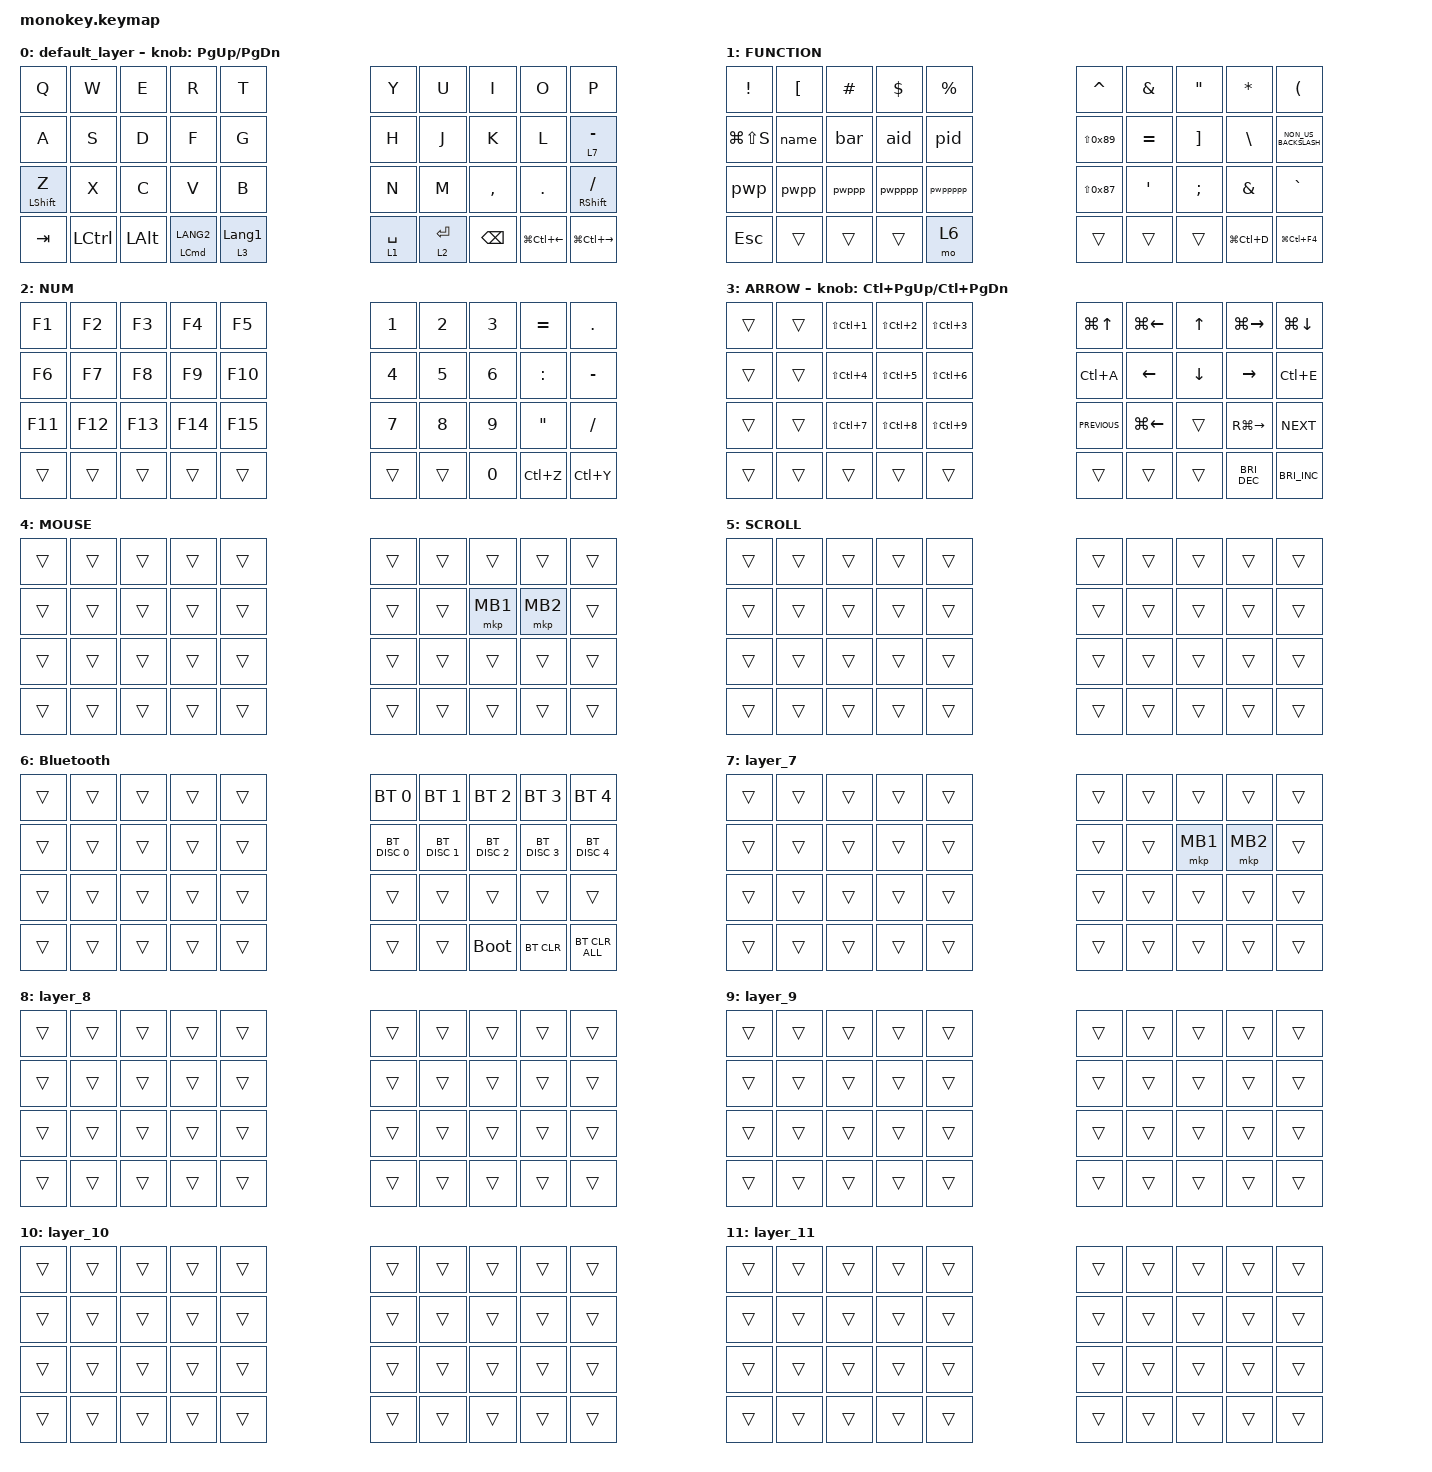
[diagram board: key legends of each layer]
#include <behaviors.dtsi>
#include <dt-bindings/zmk/bt.h>
#include <dt-bindings/zmk/keys.h>
#include <dt-bindings/zmk/pointing.h>

#define MOUSE 4
#define SCROLL 5
#define NUM 6

// OS設定を日本語キーボードのまま使用するための変換定義

#define JP_DQUOTE       AT                // "
#define JP_AMPERSAND    CARET             // &
#define JP_QUOTE        AMPERSAND         // '
#define JP_EQUAL        UNDER             // =
#define JP_CARET        EQUAL             // ^
#define JP_YEN          0x89              // ¥
#define JP_PLUS         COLON             // +
#define JP_TILDE        PLUS              // ~
#define JP_PIPE         LS(0x89)          // |
#define JP_AT           LEFT_BRACKET      // @
#define JP_COLON        SINGLE_QUOTE      // :
#define JP_ASTERISK     DOUBLE_QUOTES     // *
#define JP_BACKQUOTE    LEFT_BRACE        // `
#define JP_UNDERSCORE   LS(0x87)          // _
#define JP_LBRACKET     RIGHT_BRACKET     // [
#define JP_RBRACKET     BACKSLASH         // ]
#define JP_LPAREN       ASTERISK          // (
#define JP_RPAREN       LEFT_PARENTHESIS  // )
#define JP_LBRACE       RIGHT_BRACE       // {
#define JP_RBRACE       PIPE              // }
#define JP_KANA         LANGUAGE_1        // かな
#define JP_EISU         LANGUAGE_2        // 英数
#define JP_HANZEN       GRAVE             // 半角/全角

&mt {
    flavor = "balanced";
    quick-tap-ms = <300>;
};

&lt { quick-tap-ms = <300>; };

/ {
    combos {
        compatible = "zmk,combos";

        scroll {
            bindings = <&mo 5>;
            key-positions = <17 18>;
        };

        pear {
            bindings = <&bt BT_SEL 5>;
            key-positions = <0 10 20>;
        };
    };

    behaviors {
        right_click: right_click_behavior {
            compatible = "zmk,behavior-mouse-key";
            label = "RIGHT_CLICK";
            #binding-cells = <0>;

            // 右クリックは通常 MB2 に対応（ZMKの標準定義）

            bindings = <&mkp MB2>;
        };
    };

    macros {
        aid: aid {
            compatible = "zmk,behavior-macro";
            #binding-cells = <0>;
            bindings = <&none &kp LS(A) &kp N9 &kp N4 &kp N0 &kp N8 &kp N8 &kp N7 &kp N6>;
            label = "AID";
        };

        pid: pid {
            compatible = "zmk,behavior-macro";
            #binding-cells = <0>;
            bindings = <&none &kp P &kp I &kp T &kp N0 &kp N2 &kp N0 &kp N4 &kp N5>;
            label = "PID";
        };

        pwp: pwp {
            compatible = "zmk,behavior-macro";
            #binding-cells = <0>;
            bindings = <&none &kp LS(A) &kp H &kp N1 &kp N1 &kp N3 &kp N1 &kp N6 &kp N3 &kp JP_PLUS>;
            label = "PWP";
        };

        pwpp: poppa {
            compatible = "zmk,behavior-macro";
            #binding-cells = <0>;
            bindings = <&none &kp LS(A) &kp H &kp N1 &kp N1 &kp N3 &kp N1 &kp N6 &kp N3 &kp JP_PLUS &kp JP_PLUS>;
            label = "POPPA";
        };

        pwppp: pwppp {
            compatible = "zmk,behavior-macro";
            #binding-cells = <0>;
            bindings = <&none &kp LS(A) &kp H &kp N1 &kp N1 &kp N3 &kp N1 &kp N6 &kp N3 &kp JP_PLUS &kp JP_PLUS &kp JP_PLUS>;
            label = "PWPPP";
        };

        pwpppp: pwpppp {
            compatible = "zmk,behavior-macro";
            #binding-cells = <0>;
            bindings = <&none &kp LS(A) &kp H &kp N1 &kp N1 &kp N3 &kp N1 &kp N6 &kp N3 &kp JP_PLUS &kp JP_PLUS &kp JP_PLUS &kp JP_PLUS>;
            label = "PWPPPP";
        };

        pwppppp: pwppppp {
            compatible = "zmk,behavior-macro";
            #binding-cells = <0>;
            bindings = <&none &kp LS(A) &kp H &kp N1 &kp N1 &kp N3 &kp N1 &kp N6 &kp N3 &kp JP_PLUS &kp JP_PLUS &kp JP_PLUS &kp JP_PLUS &kp JP_PLUS>;
            label = "PWPPPPP";
        };

        name: name {
            compatible = "zmk,behavior-macro";
            #binding-cells = <0>;
            bindings = <&none &kp Y &kp O &kp S &kp H &kp I &kp K &kp I &kp JP_UNDERSCORE &kp N2 &kp JP_UNDERSCORE &kp A &kp K &kp I &kp T &kp A>;
            label = "NAME";
        };

        bar: bar {
            compatible = "zmk,behavior-macro";
            #binding-cells = <0>;
            bindings = <&none &kp LS(A) &kp N9 &kp N4 &kp N0 &kp N8 &kp N8 &kp N7 &kp N6 &kp JP_AT &kp B &kp P &kp R &kp DOT &kp B &kp T &kp M &kp DOT &kp C &kp O &kp DOT &kp J &kp P>;
            label = "BAR";
        };
    };

    keymap {
        compatible = "zmk,keymap";

        default_layer {
            bindings = <
&kp Q             &kp W      &kp E         &kp R                   &kp T                                       &kp Y          &kp U  &kp I      &kp O                   &kp P
&kp A             &kp S      &kp D         &kp F                   &kp G                                       &kp H          &kp J  &kp K      &kp L                   &lt 7 MINUS
&mt LEFT_SHIFT Z  &kp X      &kp C         &kp V                   &kp B                                       &kp N          &kp M  &kp COMMA  &kp PERIOD              &mt RIGHT_SHIFT SLASH
&kp TAB           &kp LCTRL  &kp LEFT_ALT  &mt LEFT_COMMAND LANG2  &lt 3 LANGUAGE_1  &lt 1 SPACE  &lt 2 ENTER  &kp BACKSPACE                    &kp LG(LC(LEFT_ARROW))  &kp LG(LC(RIGHT_ARROW))
            >;

            sensor-bindings = <&inc_dec_kp PG_UP PAGE_DOWN>;
        };

        FUNCTION {
            bindings = <
&kp EXCLAMATION  &kp JP_AT  &kp HASH  &kp DOLLAR  &kp PERCENT                  &kp JP_AMPERSAND   &kp JP_QUOTE  &kp JP_ASTERISK  &kp JP_LPAREN    &kp JP_RPAREN
&kp LG(LS(S))    &name      &bar      &aid        &pid                         &kp JP_PIPE        &kp EQUAL     &kp JP_LBRACKET  &kp JP_RBRACKET  &kp NON_US_BACKSLASH
&pwp             &pwpp      &pwppp    &pwpppp     &pwppppp                     &kp JP_UNDERSCORE  &kp JP_COLON  &kp SEMICOLON    &kp JP_QUOTE     &kp GRAVE
&kp ESCAPE       &trans     &trans    &trans      &mo 6        &trans  &trans  &trans                                            &kp LG(LC(D))    &kp LG(LC(F4))
            >;
        };

        NUM {
            bindings = <
&kp F1   &kp F2   &kp F3   &kp F4   &kp F5                   &kp NUMBER_1  &kp NUMBER_2  &kp NUMBER_3  &kp EQUAL        &kp PERIOD
&kp F6   &kp F7   &kp F8   &kp F9   &kp F10                  &kp NUMBER_4  &kp N5        &kp NUMBER_6  &kp JP_PLUS      &kp MINUS
&kp F11  &kp F12  &kp F13  &kp F14  &kp F15                  &kp N7        &kp N8        &kp N9        &kp JP_ASTERISK  &kp SLASH
&trans   &trans   &trans   &trans   &trans   &trans  &trans  &kp N0                                    &kp LC(Z)        &kp LC(Y)
            >;
        };

        ARROW {
            bindings = <
&trans  &trans  &kp LS(LC(NUMBER_1))  &kp LS(LC(NUMBER_2))  &kp LS(LC(NUMBER_3))                  &kp LG(UP_ARROW)  &kp LG(LEFT_ARROW)  &kp UP_ARROW    &kp LG(RIGHT)    &kp LG(DOWN_ARROW)
&trans  &trans  &kp LS(LC(NUMBER_4))  &kp LS(LC(N5))        &kp LS(LC(NUMBER_6))                  &kp LC(A)         &kp LEFT_ARROW      &kp DOWN_ARROW  &kp RIGHT_ARROW  &kp LC(E)
&trans  &trans  &kp LS(LC(N7))        &kp LS(LC(N8))        &kp LS(LC(N9))                        &kp C_PREVIOUS    &kp LG(LEFT)        &trans          &kp RG(RIGHT)    &kp C_NEXT
&trans  &trans  &trans                &trans                &trans                &trans  &trans  &trans                                                &kp C_BRI_DEC    &kp C_BRI_INC
            >;

            sensor-bindings = <&inc_dec_kp LC(PAGE_UP) LC(PAGE_DOWN)>;
        };

        MOUSE {
            bindings = <
&trans  &trans  &trans  &trans  &trans                  &trans  &trans  &trans    &trans    &trans
&trans  &trans  &trans  &trans  &trans                  &trans  &trans  &mkp MB1  &mkp MB2  &trans
&trans  &trans  &trans  &trans  &trans                  &trans  &trans  &trans    &trans    &trans
&trans  &trans  &trans  &trans  &trans  &trans  &trans  &trans                    &trans    &trans
            >;
        };

        SCROLL {
            bindings = <
&trans  &trans  &trans  &trans  &trans                  &trans  &trans  &trans  &trans  &trans
&trans  &trans  &trans  &trans  &trans                  &trans  &trans  &trans  &trans  &trans
&trans  &trans  &trans  &trans  &trans                  &trans  &trans  &trans  &trans  &trans
&trans  &trans  &trans  &trans  &trans  &trans  &trans  &trans                  &trans  &trans
            >;
        };

        Bluetooth {
            bindings = <
&trans  &trans  &trans  &trans  &trans                  &bt BT_SEL 0   &bt BT_SEL 1   &bt BT_SEL 2   &bt BT_SEL 3   &bt BT_SEL 4
&trans  &trans  &trans  &trans  &trans                  &bt BT_DISC 0  &bt BT_DISC 1  &bt BT_DISC 2  &bt BT_DISC 3  &bt BT_DISC 4
&trans  &trans  &trans  &trans  &trans                  &trans         &trans         &trans         &trans         &trans
&trans  &trans  &trans  &trans  &trans  &trans  &trans  &bootloader                                  &bt BT_CLR     &bt BT_CLR_ALL
            >;
        };

        layer_7 {
            bindings = <
&trans  &trans  &trans  &trans  &trans                  &trans  &trans  &trans    &trans    &trans
&trans  &trans  &trans  &trans  &trans                  &trans  &trans  &mkp MB1  &mkp MB2  &trans
&trans  &trans  &trans  &trans  &trans                  &trans  &trans  &trans    &trans    &trans
&trans  &trans  &trans  &trans  &trans  &trans  &trans  &trans                    &trans    &trans
            >;
        };

        layer_8 {
            bindings = <
&trans  &trans  &trans  &trans  &trans                  &trans  &trans  &trans  &trans  &trans
&trans  &trans  &trans  &trans  &trans                  &trans  &trans  &trans  &trans  &trans
&trans  &trans  &trans  &trans  &trans                  &trans  &trans  &trans  &trans  &trans
&trans  &trans  &trans  &trans  &trans  &trans  &trans  &trans                  &trans  &trans
            >;
        };

        layer_9 {
            bindings = <
&trans  &trans  &trans  &trans  &trans                  &trans  &trans  &trans  &trans  &trans
&trans  &trans  &trans  &trans  &trans                  &trans  &trans  &trans  &trans  &trans
&trans  &trans  &trans  &trans  &trans                  &trans  &trans  &trans  &trans  &trans
&trans  &trans  &trans  &trans  &trans  &trans  &trans  &trans                  &trans  &trans
            >;
        };

        layer_10 {
            bindings = <
&trans  &trans  &trans  &trans  &trans                  &trans  &trans  &trans  &trans  &trans
&trans  &trans  &trans  &trans  &trans                  &trans  &trans  &trans  &trans  &trans
&trans  &trans  &trans  &trans  &trans                  &trans  &trans  &trans  &trans  &trans
&trans  &trans  &trans  &trans  &trans  &trans  &trans  &trans                  &trans  &trans
            >;
        };

        layer_11 {
            bindings = <
&trans  &trans  &trans  &trans  &trans                  &trans  &trans  &trans  &trans  &trans
&trans  &trans  &trans  &trans  &trans                  &trans  &trans  &trans  &trans  &trans
&trans  &trans  &trans  &trans  &trans                  &trans  &trans  &trans  &trans  &trans
&trans  &trans  &trans  &trans  &trans  &trans  &trans  &trans                  &trans  &trans
            >;
        };
    };
};
